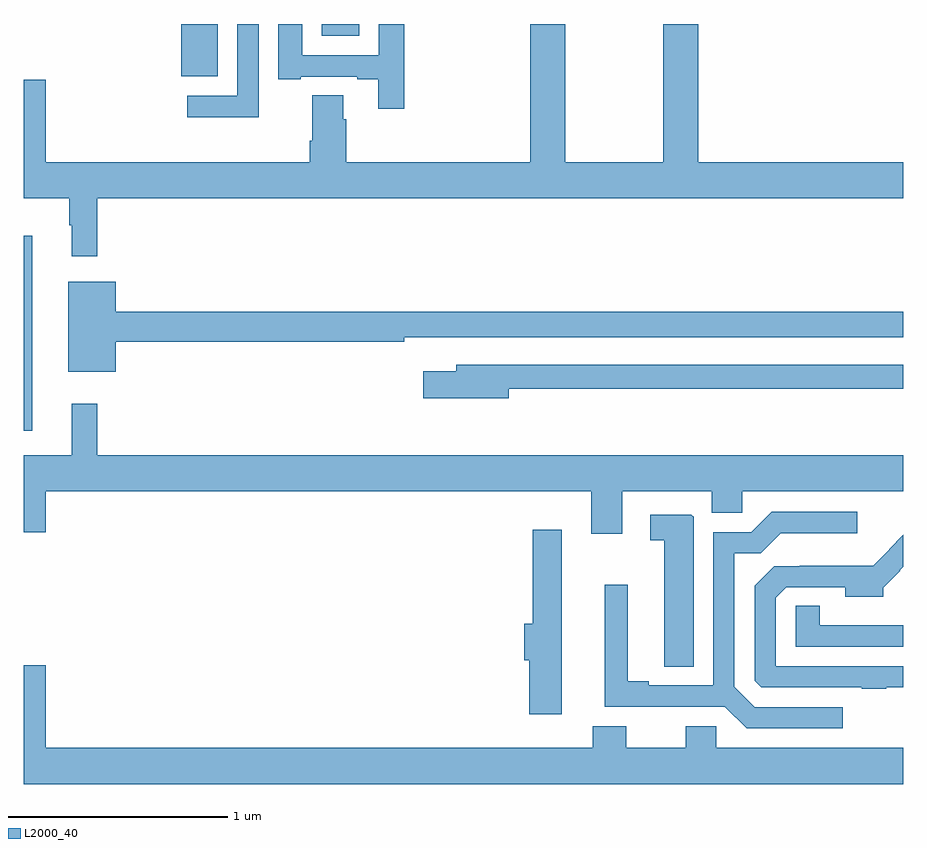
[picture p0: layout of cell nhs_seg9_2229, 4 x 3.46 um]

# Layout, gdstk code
import gdstk
lib = gdstk.Library(unit=1e-6, precision=1e-09)
def R(c, l, rs):  # rectangles x0, y0, x1, y1
    for r in rs: c.add(gdstk.rectangle(r[:2], r[2:], *l))
def P(c, l, *ps):  # polygons
    for p in ps: c.add(gdstk.Polygon(p, *l))
L2000_40 = (2000, 40)

nhs_seg9_2229 = lib.new_cell('nhs_seg9_2229')
R(nhs_seg9_2229, L2000_40, [(237,1240.65,237.04,1241.536), (237.716,1242.263,237.883,1242.5), (238.355,1242.446,238.525,1242.5)])
P(nhs_seg9_2229, L2000_40, [(238.068,1242.5),(237.972,1242.5),(237.972,1242.174),(237.744,1242.174),(237.744,1242.077),(238.068,1242.077)],
  [(238.73,1242.5),(238.614,1242.5),(238.614,1242.357),(238.267,1242.357),(238.267,1242.5),(238.157,1242.5),(238.157,1242.249),(238.261,1242.249),(238.261,1242.261),(238.517,1242.261),(238.517,1242.249),(238.613,1242.249),(238.613,1242.114),(238.73,1242.114)],
  [(237.335,1241.708),(241,1241.708),(241,1241.872),(240.068,1241.872),(240.068,1242.5),(239.908,1242.5),(239.908,1241.872),(239.463,1241.872),(239.463,1242.5),(239.303,1242.5),(239.303,1241.872),(238.466,1241.872),(238.466,1242.068),(238.453,1242.068),(238.453,1242.176),(238.313,1242.176),(238.313,1241.968),(238.301,1241.968),(238.301,1241.872),(237.1,1241.872),(237.1,1242.247),(237,1242.247),(237,1241.708),(237.207,1241.708),(237.207,1241.585),(237.218,1241.585),(237.218,1241.445),(237.335,1241.445)],
  [(237.418,1241.056),(238.73,1241.056),(238.73,1241.076),(241,1241.076),(241,1241.192),(237.418,1241.192),(237.418,1241.329),(237.203,1241.329),(237.203,1240.919),(237.418,1240.919)],
  [(239.206,1240.842),(241,1240.842),(241,1240.95),(238.967,1240.95),(238.967,1240.921),(238.818,1240.921),(238.818,1240.799),(239.206,1240.799)],
  [(239.722,1240.376),(240.128,1240.376),(240.128,1240.278),(240.267,1240.278),(240.267,1240.376),(241,1240.376),(241,1240.54),(237.335,1240.54),(237.335,1240.774),(237.218,1240.774),(237.218,1240.54),(237,1240.54),(237,1240.188),(237.1,1240.188),(237.1,1240.376),(239.582,1240.376),(239.582,1240.182),(239.722,1240.182)],
  [(240.724,1239.393),(240.324,1239.393),(240.231,1239.486),(240.231,1240.093),(240.352,1240.093),(240.443,1240.184),(240.79,1240.184),(240.79,1240.281),(240.402,1240.281),(240.309,1240.188),(240.135,1240.188),(240.135,1239.492),(239.842,1239.492),(239.842,1239.512),(239.746,1239.512),(239.746,1239.949),(239.642,1239.949),(239.642,1239.396),(240.188,1239.396),(240.287,1239.297),(240.724,1239.297)],
  [(240.046,1240.259),(240.036,1240.269),(239.85,1240.269),(239.85,1240.153),(239.912,1240.153),(239.912,1239.577),(240.046,1239.577)],
  [(239.446,1240.201),(239.315,1240.201),(239.315,1239.773),(239.276,1239.773),(239.276,1239.606),(239.3,1239.606),(239.3,1239.362),(239.446,1239.362)],
  [(240.923,1239.483),(241,1239.483),(241,1239.579),(240.42,1239.579),(240.42,1239.891),(240.468,1239.939),(240.737,1239.939),(240.737,1239.896),(240.908,1239.896),(240.908,1239.936),(240.987,1240.014),(240.984,1240.017),(241,1240.033),(241,1240.177),(240.935,1240.111),(240.937,1240.109),(240.863,1240.036),(240.529,1240.036),(240.529,1240.034),(240.413,1240.034),(240.324,1239.945),(240.324,1239.513),(240.354,1239.483),(240.811,1239.483),(240.811,1239.478),(240.923,1239.478)],
  [(241,1239.765),(240.873,1239.765),(240.873,1239.766),(240.619,1239.766),(240.619,1239.854),(240.51,1239.854),(240.51,1239.669),(241,1239.669)],
  [(241,1239.208),(240.15,1239.208),(240.15,1239.306),(240.011,1239.306),(240.011,1239.208),(239.74,1239.208),(239.74,1239.307),(239.588,1239.307),(239.588,1239.208),(237.1,1239.208),(237.1,1239.583),(237,1239.583),(237,1239.044),(241,1239.044)])

lib.write_gds('nhs_seg9_2229.gds')
